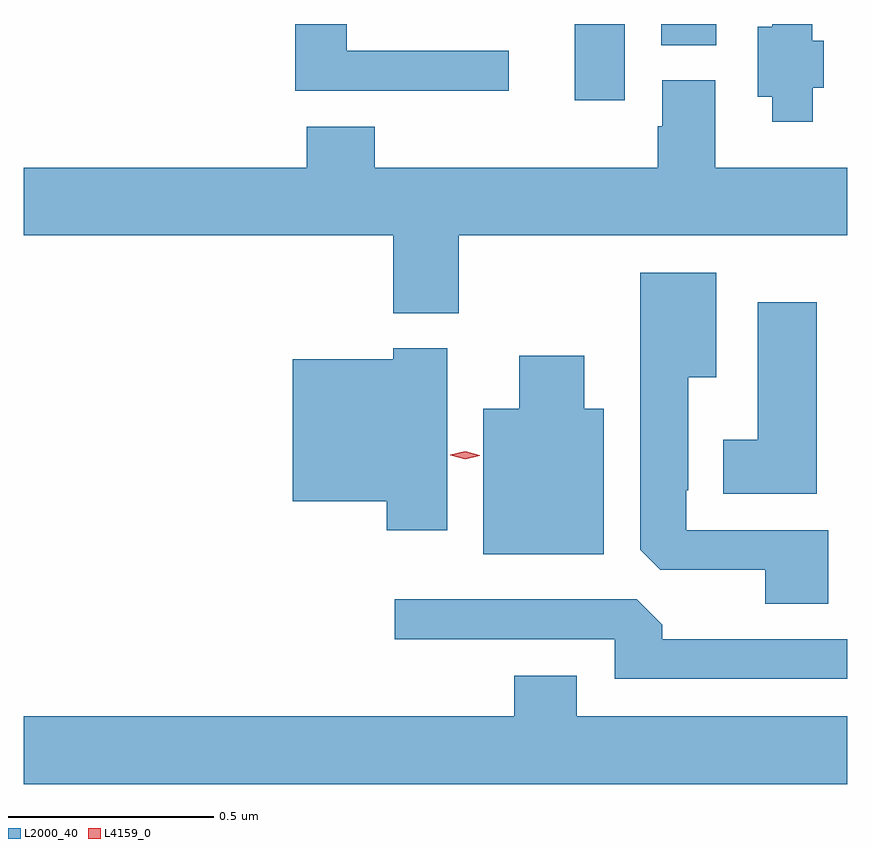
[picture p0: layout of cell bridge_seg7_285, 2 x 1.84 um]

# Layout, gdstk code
import gdstk
lib = gdstk.Library(unit=1e-6, precision=1e-09)
def R(c, l, rs):  # rectangles x0, y0, x1, y1
    for r in rs: c.add(gdstk.rectangle(r[:2], r[2:], *l))
def P(c, l, *ps):  # polygons
    for p in ps: c.add(gdstk.Polygon(p, *l))
L2000_40 = (2000, 40)
L4159_0 = (4159, 0)

bridge_seg7_285 = lib.new_cell('bridge_seg7_285')
R(bridge_seg7_285, L2000_40, [(120.962,1026.252,121.084,1026.437), (121.172,1026.385,121.306,1026.437)])
P(bridge_seg7_285, L2000_40, [(120.802,1026.372),(120.409,1026.372),(120.409,1026.437),(120.284,1026.437),(120.284,1026.275),(120.802,1026.275)],
  [(121.54,1026.282),(121.567,1026.282),(121.567,1026.396),(121.539,1026.396),(121.539,1026.437),(121.442,1026.437),(121.442,1026.43),(121.406,1026.43),(121.406,1026.26),(121.442,1026.26),(121.442,1026.2),(121.54,1026.2)],
  [(120.681,1025.924),(121.624,1025.924),(121.624,1026.088),(121.303,1026.088),(121.303,1026.3),(121.175,1026.3),(121.175,1026.189),(121.163,1026.189),(121.163,1026.088),(120.476,1026.088),(120.476,1026.187),(120.311,1026.187),(120.311,1026.088),(119.624,1026.088),(119.624,1025.924),(120.521,1025.924),(120.521,1025.735),(120.681,1025.735)],
  [(121.577,1025.208),(121.233,1025.208),(121.233,1025.305),(121.237,1025.305),(121.237,1025.579),(121.306,1025.579),(121.306,1025.833),(121.121,1025.833),(121.121,1025.161),(121.17,1025.112),(121.424,1025.112),(121.424,1025.029),(121.577,1025.029)],
  [(121.549,1025.761),(121.406,1025.761),(121.406,1025.428),(121.322,1025.428),(121.322,1025.297),(121.549,1025.297)],
  [(120.652,1025.65),(120.522,1025.65),(120.522,1025.623),(120.278,1025.623),(120.278,1025.279),(120.506,1025.279),(120.506,1025.208),(120.652,1025.208)],
  [(121.033,1025.503),(120.985,1025.503),(120.985,1025.632),(120.827,1025.632),(120.827,1025.503),(120.74,1025.503),(120.74,1025.15),(121.033,1025.15)],
  [(121.624,1024.944),(121.175,1024.944),(121.175,1024.978),(121.113,1025.04),(120.525,1025.04),(120.525,1024.944),(121.059,1024.944),(121.059,1024.848),(121.624,1024.848)],
  [(121.624,1024.756),(120.967,1024.756),(120.967,1024.855),(120.815,1024.855),(120.815,1024.756),(119.624,1024.756),(119.624,1024.592),(121.624,1024.592)])
P(bridge_seg7_285, L4159_0, [(120.696,1025.38),(120.66,1025.39),(120.66,1025.391),(120.66,1025.391),(120.696,1025.4),(120.732,1025.39),(120.732,1025.39),(120.732,1025.389)])

lib.write_gds('bridge_seg7_285.gds')
